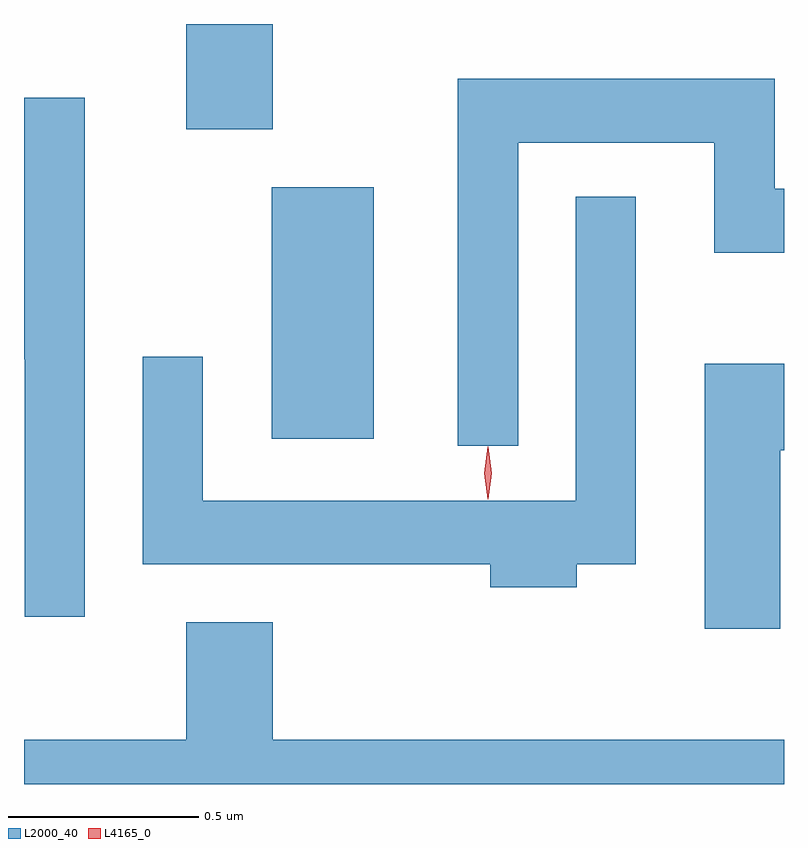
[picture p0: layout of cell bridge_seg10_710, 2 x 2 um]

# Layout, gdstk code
import gdstk
lib = gdstk.Library(unit=1e-6, precision=1e-09)
def R(c, l, rs):  # rectangles x0, y0, x1, y1
    for r in rs: c.add(gdstk.rectangle(r[:2], r[2:], *l))
def P(c, l, *ps):  # polygons
    for p in ps: c.add(gdstk.Polygon(p, *l))
L2000_40 = (2000, 40)
L4165_0 = (4165, 0)

bridge_seg10_710 = lib.new_cell('bridge_seg10_710')
R(bridge_seg10_710, L2000_40, [(995.226,2103.876,995.494,2104.539), (995.001,2104.691,995.229,2104.968)])
P(bridge_seg10_710, L2000_40, [(995.874,2104.656),(996.391,2104.656),(996.391,2104.366),(996.574,2104.366),(996.574,2104.534),(996.549,2104.534),(996.549,2104.824),(995.716,2104.824),(995.716,2103.858),(995.874,2103.858)],
  [(994.734,2104.774),(994.574,2104.774),(994.574,2104.086),(994.576,2104.086),(994.576,2103.408),(994.734,2103.408)],
  [(996.029,2103.546),(996.184,2103.546),(996.184,2104.513),(996.026,2104.513),(996.026,2103.714),(995.044,2103.714),(995.044,2104.093),(994.886,2104.093),(994.886,2103.546),(995.801,2103.546),(995.801,2103.486),(996.029,2103.486)],
  [(996.564,2103.846),(996.574,2103.846),(996.574,2104.074),(996.366,2104.074),(996.366,2103.376),(996.564,2103.376)],
  [(996.574,2103.084),(995.229,2103.084),(995.229,2103.394),(995.001,2103.394),(995.001,2103.084),(994.574,2103.084),(994.574,2102.968),(996.574,2102.968)])
P(bridge_seg10_710, L4165_0, [(995.794,2103.717),(995.785,2103.786),(995.794,2103.856),(995.795,2103.856),(995.796,2103.856),(995.805,2103.786),(995.796,2103.717),(995.795,2103.717)],
  [(995.795,2103.719),(995.795,2103.72),(995.785,2103.786),(995.795,2103.852),(995.795,2103.853),(995.796,2103.852),(995.805,2103.786),(995.796,2103.72)])

lib.write_gds('bridge_seg10_710.gds')
